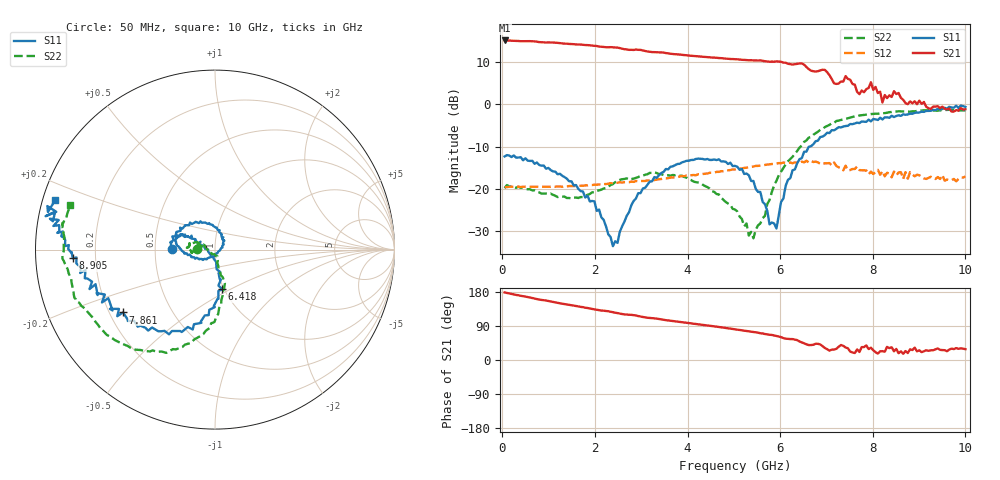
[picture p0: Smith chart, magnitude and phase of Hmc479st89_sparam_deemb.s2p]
# MHZ S MA R 50
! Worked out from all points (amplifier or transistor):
!   201 points, 50 MHz to 10 GHz, reference 50 ohm
!   highest |S21| = 15.1 dB at 50 MHz (marker M1)
!   |S21| within 3 dB of that: start of sweep to 3.545 GHz
!   unconditionally stable (mu >= 1): start of sweep to 6.486 GHz; 6.600101 GHz to 6.625303 GHz
!   at 1.692 GHz: K = 1.16, MAG = 14.3 dB, |S12| = -19.3 dB
!   at 5.025 GHz: K = 1.13, MAG = 10.9 dB, |S12| = -15.4 dB
!   at 10 GHz: K = 0.43, MSG = 8.0 dB, |S12| = -17.1 dB
!   S11 on the Smith chart (normalised r, x): 50 MHz: 0.61, +0.00; 6.418 GHz: 0.98, -0.46; 7.861 GHz: 0.25, -0.29; 8.905 GHz: 0.11, -0.03; 10 GHz: 0.04, +0.15
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50  0.242 179.1  5.701 178.2  0.105 0.8  0.102 179.0
796.25  0.192 132.0  5.451 159.4  0.106 8.5  0.091 162.2
1741.5  0.093 67.7  5.059 139.4  0.109 20.9  0.08 174.9
2388.25  0.021 -31.1  4.73 126.4  0.116 28.5  0.114 -176.2
3383.25  0.145 -169.0  4.128 108.2  0.13 37.9  0.15 175.4
5025  0.187 153.3  3.418 81.3  0.17 45.8  0.057 164.2
5423  0.124 153.8  3.309 74.3  0.184 45.3  0.026 -96.2
5920.5  0.034 -101.5  3.228 63.5  0.199 41.8  0.125 -76.7
6418  0.225 -79.9  3.044 48.9  0.204 37.4  0.308 -83.6
6716.5  0.337 -95.4  2.465 40.1  0.208 32.1  0.437 -93.8
6965.25  0.432 -105.8  2.557 31.7  0.2 28.1  0.538 -104.7
7064.75  0.457 -109.3  2.215 24.8  0.202 25.3  0.572 -108.5
7263.75  0.537 -118.5  1.764 34.9  0.18 26.3  0.641 -117.7
7413  0.554 -124.9  2.158 33.1  0.188 25.6  0.673 -122.5
7711.5  0.6 -138.6  1.321 21.2  0.167 28.1  0.738 -134.9
7860.75  0.621 -145.7  1.513 38.4  0.165 32.0  0.756 -139.2
7960.25  0.629 -148.3  1.83 32.5  0.16 30.6  0.768 -141.8
8109.5  0.653 -155.5  1.36 16.9  0.168 31.9  0.775 -147.3
8358.25  0.693 -163.9  1.279 31.3  0.152 27.4  0.808 -157.1
8656.75  0.762 -170.2  1.133 16.4  0.131 36.2  0.823 -163.2
8905.5  0.794 -176.5  1.088 32.5  0.141 33.5  0.828 -172.4
10000  0.932 162.7  0.876 28.7  0.14 43.3  0.847 163.1
